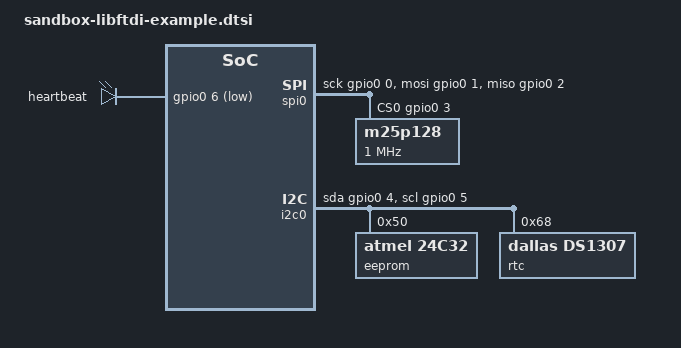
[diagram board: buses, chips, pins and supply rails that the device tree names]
#include <dt-bindings/gpio/gpio.h>

/ {
	gpio0: gpio@0 {
		compatible = "barebox,libftdi1-gpio";
		usb,id_vendor = <0x0403>;
		usb,id_product = <0x6010>;

		/*
		 * The serial number can be used to select
		 * a specific device in case more than
		 * one is connected to the host.
		 */
		/* usb,i_serial_number = "20180120"; */

		/* use ACBUS[7:0] */
		gpio-controller;
		#gpio-cells = <2>;

		status = "okay";
	};

	spi0: spi0 {
		compatible = "spi-gpio";
		#address-cells = <1>;
		#size-cells = <0>;

		gpio-sck  = <&gpio0 0 GPIO_ACTIVE_HIGH>;
		gpio-mosi = <&gpio0 1 GPIO_ACTIVE_HIGH>;
		gpio-miso = <&gpio0 2 GPIO_ACTIVE_HIGH>;
		cs-gpios  = <&gpio0 3 GPIO_ACTIVE_HIGH>;

		num-chipselects = <1>;

		m25p128@0 {
			compatible = "m25p128", "jedec,spi-nor";
			#address-cells = <1>;
			#size-cells = <1>;
			reg = <0>;
			spi-max-frequency = <1000000>;
		};
	};

	i2c0: i2c0 {
		compatible = "i2c-gpio";
		#address-cells = <1>;
		#size-cells = <0>;

		gpios = <&gpio0 4 GPIO_ACTIVE_HIGH /* sda */
			&gpio0 5 GPIO_ACTIVE_HIGH /* scl */
			>;
		i2c-gpio,scl-output-only;

		eeprom: at24@50 {
			compatible = "atmel,24c32";
			reg = <0x50>;
		};

		rtc: ds1307@68 {
			compatible = "dallas,ds1307";
			reg = <0x68>;
		};
	};

	gpio-leds {
		compatible = "gpio-leds";

		heartbeat-led {
			label = "heartbeat";
			gpios = <&gpio0 6 GPIO_ACTIVE_LOW>;
			linux,default-trigger = "heartbeat";
		};
	};
};
